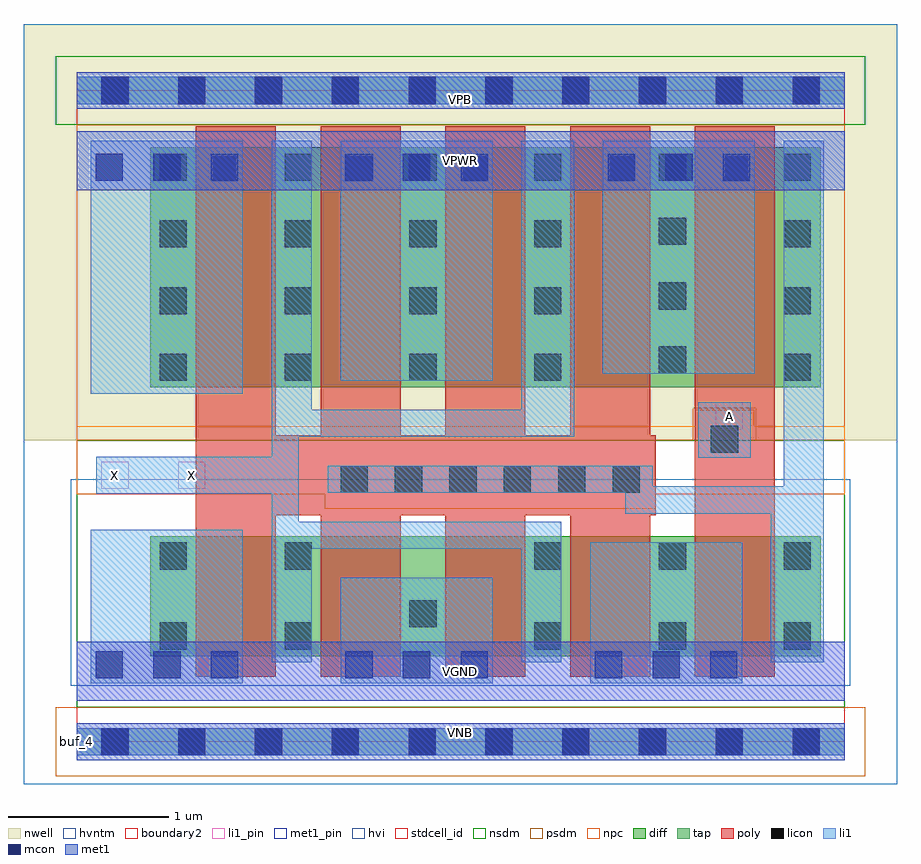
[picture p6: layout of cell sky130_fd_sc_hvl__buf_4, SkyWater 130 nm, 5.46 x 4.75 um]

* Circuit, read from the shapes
.subckt sky130_fd_sc_hvl__buf_4 A VGND VNB VPB VPWR X
XM1 X n1 VGND VNB sky130_fd_pr__nfet_g5v0d10v5 w=0.75 l=0.5 m=4
XM2 n1 A VGND VNB sky130_fd_pr__nfet_g5v0d10v5 w=0.75 l=0.5
XM3 X n1 VPWR VPB sky130_fd_pr__pfet_g5v0d10v5 w=1.5 l=0.5 m=4
XM4 n1 A VPWR VPB sky130_fd_pr__pfet_g5v0d10v5 w=1.5 l=0.5
.ends

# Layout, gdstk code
import gdstk
lib = gdstk.Library(unit=1e-6, precision=1e-09)
def R(c, l, rs):  # rectangles x0, y0, x1, y1
    for r in rs: c.add(gdstk.rectangle(r[:2], r[2:], *l))
def A(c, l, x, y, w, h, nx, ny, dx, dy):  # array of equal rectangles
    R(c, l, [(x+i*dx, y+j*dy, x+i*dx+w, y+j*dy+h) for i in range(nx) for j in range(ny)])
def P(c, l, *ps):  # polygons
    for p in ps: c.add(gdstk.Polygon(p, *l))
nwell = (64, 20)
diff = (65, 20)
tap = (65, 44)
poly = (66, 20)
licon = (66, 44)
li1_pin = (67, 16)
li1 = (67, 20)
mcon = (67, 44)
met1_pin = (68, 16)
met1 = (68, 20)
hvi = (75, 20)
stdcell_id = (81, 4)
nsdm = (93, 44)
psdm = (94, 20)
npc = (95, 20)
hvntm = (125, 20)
boundary2 = (236, 0)

sky130_fd_sc_hvl__buf_4 = lib.new_cell('sky130_fd_sc_hvl__buf_4')
R(sky130_fd_sc_hvl__buf_4, nwell, [(-0.33,1.885,5.13,4.485)])
R(sky130_fd_sc_hvl__buf_4, diff, [(0.46,0.535,4.65,1.285), (0.46,2.215,4.65,3.715)])
R(sky130_fd_sc_hvl__buf_4, tap, [(0,-0.085,4.8,0.085), (0,3.985,4.8,4.155)])
R(sky130_fd_sc_hvl__buf_4, poly, [(3.865,0.405,4.365,3.845)])
P(sky130_fd_sc_hvl__buf_4, poly, [(0.745,0.405),(0.745,3.845),(1.245,3.845),(1.245,1.915),(1.525,1.915),(1.525,3.845),(2.025,3.845),(2.025,1.915),(2.305,1.915),(2.305,3.845),(2.805,3.845),(2.805,1.915),(3.085,1.915),(3.085,3.845),(3.585,3.845),(3.585,1.915),(3.62,1.915),(3.62,1.415),(3.585,1.415),(3.585,0.405),(3.085,0.405),(3.085,1.415),(2.805,1.415),(2.805,0.405),(2.305,0.405),(2.305,1.415),(2.025,1.415),(2.025,0.405),(1.525,0.405),(1.525,1.415),(1.245,1.415),(1.245,0.405)])
A(sky130_fd_sc_hvl__buf_4, licon, 0.155, -0.085, 0.17, 0.17, 10, 2, 0.48, 4.07)
A(sky130_fd_sc_hvl__buf_4, licon, 2.86, 0.575, 0.17, 0.17, 3, 2, 0.78, 0.5)
A(sky130_fd_sc_hvl__buf_4, licon, 1.65, 1.555, 0.17, 0.17, 6, 1, 0.34, 0)
A(sky130_fd_sc_hvl__buf_4, licon, 0.52, 2.255, 0.17, 0.17, 4, 2, 0.78, 0.415)
A(sky130_fd_sc_hvl__buf_4, licon, 0.52, 3.09, 0.17, 0.17, 4, 1, 0.78, 0)
A(sky130_fd_sc_hvl__buf_4, licon, 0.52, 3.505, 0.17, 0.17, 6, 1, 0.78, 0)
R(sky130_fd_sc_hvl__buf_4, licon, [(0.52,0.575,0.69,0.745), (1.3,0.575,1.47,0.745), (2.08,0.715,2.25,0.885), (0.52,1.075,0.69,1.245), (1.3,1.075,1.47,1.245), (3.965,1.805,4.135,1.975), (4.42,2.255,4.59,2.425), (3.64,2.3,3.81,2.47), (4.42,2.67,4.59,2.84), (3.64,2.7,3.81,2.87), (4.42,3.09,4.59,3.26), (3.64,3.105,3.81,3.275)])
R(sky130_fd_sc_hvl__buf_4, li1_pin, [(0.155,1.58,0.325,1.75), (0.635,1.58,0.805,1.75), (3.995,1.95,4.165,2.12)])
R(sky130_fd_sc_hvl__buf_4, li1, [(0,-0.085,4.8,0.085), (0.09,0.365,1.04,1.325), (1.65,0.365,2.6,1.025), (3.21,0.365,4.16,1.245), (3.885,1.775,4.215,2.12), (0.09,2.175,1.04,3.755), (1.65,2.255,2.6,3.755), (3.29,2.3,4.24,3.755), (0,3.985,4.8,4.155)])
P(sky130_fd_sc_hvl__buf_4, li1, [(1.22,0.495),(1.22,1.55),(0.125,1.55),(0.125,1.78),(1.22,1.78),(1.22,3.755),(1.47,3.755),(1.47,2.075),(2.78,2.075),(2.78,3.755),(3.11,3.755),(3.11,1.905),(1.39,1.905),(1.39,1.375),(3.03,1.375),(3.03,0.495),(2.78,0.495),(2.78,1.205),(1.47,1.205),(1.47,0.495)],
  [(4.34,0.495),(4.34,1.425),(3.43,1.425),(3.43,1.555),(1.57,1.555),(1.57,1.725),(3.6,1.725),(3.6,1.595),(4.42,1.595),(4.42,3.755),(4.67,3.755),(4.67,0.495)])
A(sky130_fd_sc_hvl__buf_4, mcon, 0.12, 0.395, 0.17, 0.17, 3, 2, 0.36, 3.11)
A(sky130_fd_sc_hvl__buf_4, mcon, 1.68, 0.395, 0.17, 0.17, 3, 2, 0.36, 3.11)
A(sky130_fd_sc_hvl__buf_4, mcon, 3.24, 0.395, 0.17, 0.17, 3, 1, 0.36, 0)
A(sky130_fd_sc_hvl__buf_4, mcon, 3.32, 3.505, 0.17, 0.17, 3, 1, 0.36, 0)
R(sky130_fd_sc_hvl__buf_4, mcon, [(0.155,-0.085,0.325,0.085), (0.155,-0.085,0.325,0.085), (0.635,-0.085,0.805,0.085), (0.635,-0.085,0.805,0.085), (1.115,-0.085,1.285,0.085), (1.115,-0.085,1.285,0.085), (1.595,-0.085,1.765,0.085), (1.595,-0.085,1.765,0.085), (2.075,-0.085,2.245,0.085), (2.075,-0.085,2.245,0.085), (2.555,-0.085,2.725,0.085), (2.555,-0.085,2.725,0.085), (3.035,-0.085,3.205,0.085), (3.035,-0.085,3.205,0.085), (3.515,-0.085,3.685,0.085), (3.515,-0.085,3.685,0.085), (3.995,-0.085,4.165,0.085), (3.995,-0.085,4.165,0.085), (4.475,-0.085,4.645,0.085), (4.475,-0.085,4.645,0.085), (0.155,3.985,0.325,4.155), (0.155,3.985,0.325,4.155), (0.635,3.985,0.805,4.155), (0.635,3.985,0.805,4.155), (1.115,3.985,1.285,4.155), (1.115,3.985,1.285,4.155), (1.595,3.985,1.765,4.155), (1.595,3.985,1.765,4.155), (2.075,3.985,2.245,4.155), (2.075,3.985,2.245,4.155), (2.555,3.985,2.725,4.155), (2.555,3.985,2.725,4.155), (3.035,3.985,3.205,4.155), (3.035,3.985,3.205,4.155), (3.515,3.985,3.685,4.155), (3.515,3.985,3.685,4.155), (3.995,3.985,4.165,4.155), (3.995,3.985,4.165,4.155), (4.475,3.985,4.645,4.155), (4.475,3.985,4.645,4.155)])
R(sky130_fd_sc_hvl__buf_4, met1_pin, [(0,0,4.8,0.115), (0,0.255,4.8,0.625), (0,3.445,4.8,3.815), (0,3.955,4.8,4.07)])
R(sky130_fd_sc_hvl__buf_4, met1, [(0,-0.115,4.8,0.115), (0,0.255,4.8,0.625), (0,3.445,4.8,3.815), (0,3.955,4.8,4.185)])
R(sky130_fd_sc_hvl__buf_4, hvi, [(-0.33,-0.265,5.13,4.485)])
R(sky130_fd_sc_hvl__buf_4, stdcell_id, [(0,0,4.8,4.07)])
R(sky130_fd_sc_hvl__buf_4, nsdm, [(0,0.215,4.8,1.885), (-0.13,3.855,4.93,4.285), (0,3.855,4.8,4.07)])
R(sky130_fd_sc_hvl__buf_4, psdm, [(-0.13,-0.215,4.93,0.215)])
P(sky130_fd_sc_hvl__buf_4, psdm, [(0,1.885),(0,3.855),(4.8,3.855),(4.8,1.885),(4.245,1.885),(4.245,2.085),(3.855,2.085),(3.855,1.885)])
P(sky130_fd_sc_hvl__buf_4, npc, [(1.55,1.455),(1.55,1.545),(0,1.545),(0,1.97),(3.865,1.97),(3.865,2.075),(4.235,2.075),(4.235,1.97),(4.8,1.97),(4.8,1.545),(3.62,1.545),(3.62,1.455)])
R(sky130_fd_sc_hvl__buf_4, hvntm, [(-0.035,0.35,4.835,1.64)])
R(sky130_fd_sc_hvl__buf_4, boundary2, [(0,0,4.8,4.07)])
sky130_fd_sc_hvl__buf_4.add(gdstk.Label('X', (0.24,1.665), layer=67, texttype=5))
sky130_fd_sc_hvl__buf_4.add(gdstk.Label('X', (0.72,1.665), layer=67, texttype=5))
sky130_fd_sc_hvl__buf_4.add(gdstk.Label('A', (4.08,2.035), layer=67, texttype=5))
sky130_fd_sc_hvl__buf_4.add(gdstk.Label('buf_4', (0,0), layer=83, texttype=44))
sky130_fd_sc_hvl__buf_4.add(gdstk.Label('VGND', (2.4,0.44), layer=68, texttype=5))
sky130_fd_sc_hvl__buf_4.add(gdstk.Label('VNB', (2.4,0.058), layer=68, texttype=5))
sky130_fd_sc_hvl__buf_4.add(gdstk.Label('VPWR', (2.4,3.63), layer=68, texttype=5))
sky130_fd_sc_hvl__buf_4.add(gdstk.Label('VPB', (2.4,4.013), layer=68, texttype=5))

lib.write_gds('sky130_fd_sc_hvl__buf_4.gds')
